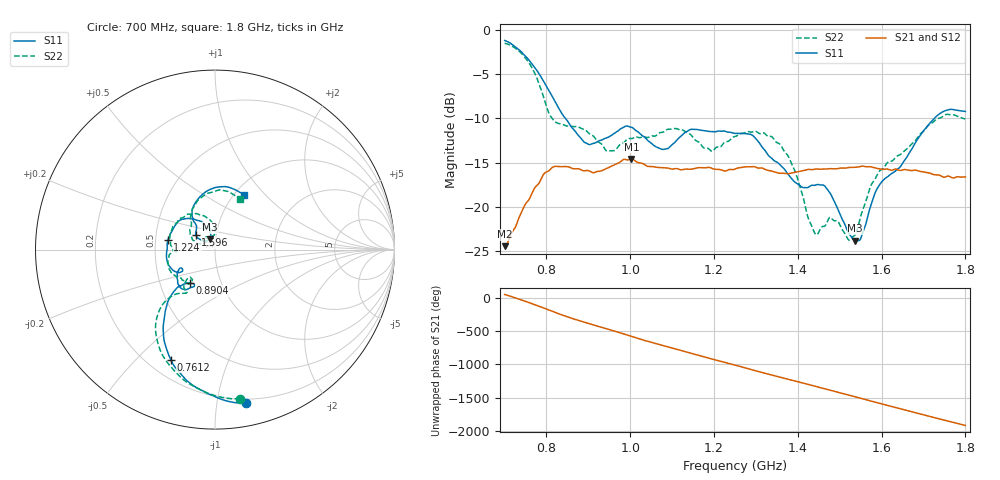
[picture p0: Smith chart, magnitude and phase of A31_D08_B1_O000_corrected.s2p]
! Created with skrf 1.9.0 (http://scikit-rf.org).
# Hz S RI R 50.0
!freq ReS11 ImS11 ReS21 ImS21 ReS12 ImS12 ReS22 ImS22
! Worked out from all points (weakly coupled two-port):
!   1601 points, 700 MHz to 1.8 GHz, reference 50 ohm
!   highest |S21| = -14.60 dB at 1.002 GHz (marker M1); lowest = -24.5 dB at 700 MHz (marker M2)
!   lowest |S11| = -23.9 dB at 1.537 GHz (marker M3), VSWR 1.14, Z = 46.8 + j5.35 ohm
!   |S11| at or under -10 dB: 845.4 MHz to 1.726 GHz (880.2 MHz wide, 68.5 % of centre)
!   |S22| runs from -23.8 to -1.5 dB; largest |S21 - S12| = 0.0036
!   S11 on the Smith chart (normalised r, x): 700 MHz: 0.17, -1.21; 761.2 MHz: 0.29, -0.64; 890.4 MHz: 0.71, -0.28; 1.224 GHz: 0.58, +0.07; 1.596 GHz: 0.80, +0.13; 1.8 GHz: 1.11, +0.77
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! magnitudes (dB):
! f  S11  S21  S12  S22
! 700 MHz  -1.2  -24.5  -24.2  -1.5
! 761.2 MHz  -3.6  -18.9  -18.8  -3.9
! 814.8 MHz  -7.6  -15.5  -15.6  -10.1
! 883.6 MHz  -12.3  -15.8  -15.7  -11.1
! 890.4 MHz  -12.7  -15.9  -15.9  -11.2
! 946.8 MHz  -12.1  -15.6  -15.6  -13.7
! 1.002 GHz  -11.0  -14.6  -14.7  -12.3
! 1.067 GHz  -13.3  -15.6  -15.5  -11.7
! 1.144 GHz  -11.2  -15.8  -15.8  -11.8
! 1.194 GHz  -11.5  -15.6  -15.6  -13.7
! 1.224 GHz  -11.4  -15.9  -15.9  -12.7
! 1.25 GHz  -11.7  -15.7  -15.7  -12.0
! 1.358 GHz  -15.3  -16.2  -16.2  -13.0
! 1.394 GHz  -17.2  -16.1  -16.1  -16.0
! 1.434 GHz  -17.6  -15.8  -15.8  -22.2
! 1.469 GHz  -18.0  -15.7  -15.7  -21.8
! 1.537 GHz  -23.9  -15.5  -15.5  -23.2
! 1.552 GHz  -23.4  -15.4  -15.4  -20.8
! 1.596 GHz  -17.5  -15.7  -15.7  -15.9
! 1.617 GHz  -16.5  -15.8  -15.7  -14.9
! 1.733 GHz  -9.6  -16.4  -16.4  -10.0
! 1.8 GHz  -9.2  -16.6  -16.6  -10.1
